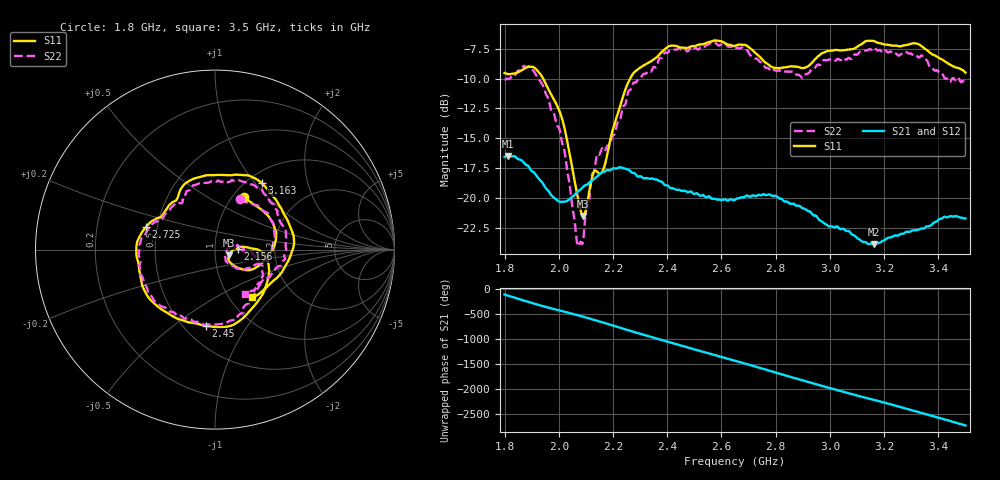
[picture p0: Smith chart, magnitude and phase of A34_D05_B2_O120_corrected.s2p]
! Created with skrf 1.9.0 (http://scikit-rf.org).
# Hz S RI R 50.0
!freq ReS11 ImS11 ReS21 ImS21 ReS12 ImS12 ReS22 ImS22
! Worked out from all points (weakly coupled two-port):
!   1601 points, 1.8 GHz to 3.5 GHz, reference 50 ohm
!   highest |S21| = -16.48 dB at 1.812 GHz (marker M1); lowest = -23.9 dB at 3.162 GHz (marker M2)
!   lowest |S11| = -21.5 dB at 2.09 GHz (marker M3), VSWR 1.18, Z = 58.3 - j3.83 ohm
!   |S11| at or under -10 dB: 1.942 GHz to 2.263 GHz (320.8 MHz wide, 15.3 % of centre)
!   |S22| runs from -24.0 to -7.0 dB; largest |S21 - S12| = 0.0026
!   S11 on the Smith chart (normalised r, x): 1.8 GHz: 1.13, +0.74; 2.156 GHz: 1.29, +0.01; 2.45 GHz: 0.64, -0.66; 2.725 GHz: 0.43, +0.13; 3.163 GHz: 1.16, +1.09; 3.5 GHz: 1.27, -0.75
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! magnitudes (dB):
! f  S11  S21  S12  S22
! 1.8 GHz  -9.5  -16.6  -16.6  -10.1
! 1.812 GHz  -9.6  -16.5  -16.5  -10.0
! 1.886 GHz  -9.0  -17.3  -17.4  -9.0
! 1.941 GHz  -10.0  -18.8  -18.8  -10.6
! 2.013 GHz  -13.4  -20.3  -20.3  -15.4
! 2.067 GHz  -19.6  -19.5  -19.5  -23.7
! 2.084 GHz  -21.3  -19.2  -19.2  -23.8
! 2.09 GHz  -21.5  -19.1  -19.1  -23.5
! 2.127 GHz  -17.9  -18.5  -18.5  -17.9
! 2.156 GHz  -17.9  -17.9  -17.9  -16.0
! 2.26 GHz  -10.1  -17.7  -17.7  -11.0
! 2.367 GHz  -8.1  -18.5  -18.5  -8.5
! 2.45 GHz  -7.4  -19.4  -19.4  -7.6
! 2.65 GHz  -7.3  -20.2  -20.1  -7.5
! 2.725 GHz  -7.9  -19.8  -19.8  -8.3
! 2.796 GHz  -9.1  -19.8  -19.8  -9.3
! 2.934 GHz  -8.7  -21.3  -21.3  -9.2
! 3.162 GHz  -6.9  -23.9  -23.8  -7.5
! 3.163 GHz  -6.9  -23.9  -23.8  -7.4
! 3.217 GHz  -7.2  -23.3  -23.3  -7.8
! 3.324 GHz  -7.1  -22.7  -22.6  -8.2
! 3.5 GHz  -9.5  -21.7  -21.7  -10.4
